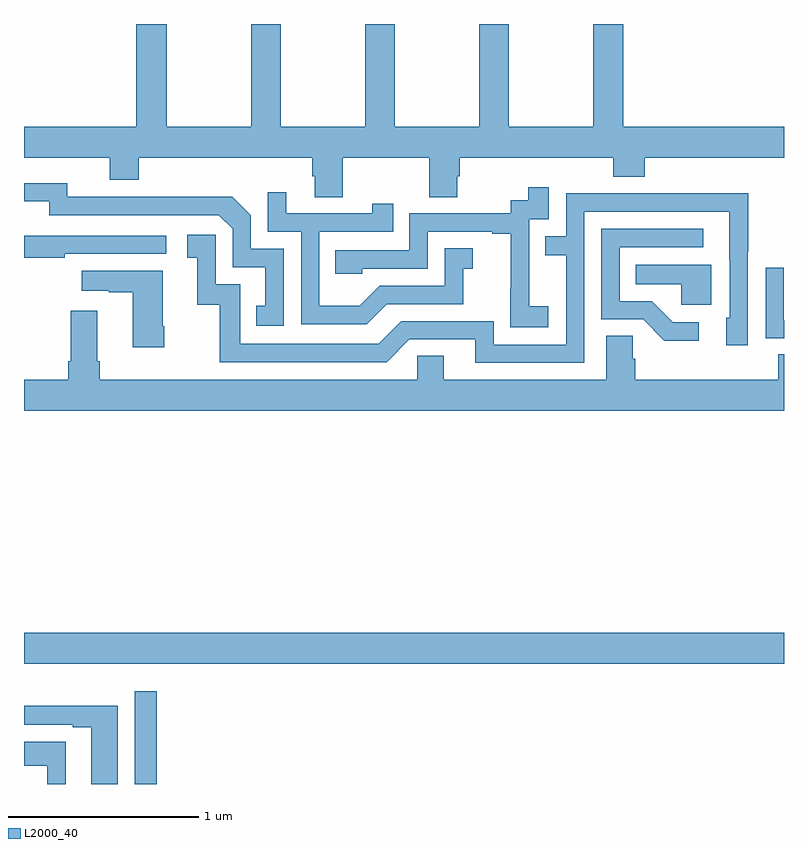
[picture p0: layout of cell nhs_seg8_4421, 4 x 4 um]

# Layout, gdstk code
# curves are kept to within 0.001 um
import gdstk
lib = gdstk.Library(unit=1e-6, precision=1e-09)
def R(c, l, rs):  # rectangles x0, y0, x1, y1
    for r in rs: c.add(gdstk.rectangle(r[:2], r[2:], *l))
def P(c, l, *ps):  # polygons
    for p in ps: c.add(gdstk.Polygon(p, *l))
L2000_40 = (2000, 40)

nhs_seg8_4421 = lib.new_cell('nhs_seg8_4421')
R(nhs_seg8_4421, L2000_40, [(381.582,1083.9,381.698,1084.387), (381,1084.532,385,1084.696)])
P(nhs_seg8_4421, L2000_40, [(382.677,1087.196),(383.134,1087.196),(383.134,1086.988),(383.281,1086.988),(383.281,1087.098),(383.294,1087.098),(383.294,1087.196),(384.101,1087.196),(384.101,1087.097),(384.266,1087.097),(384.266,1087.196),(385,1087.196),(385,1087.36),(384.155,1087.36),(384.155,1087.9),(383.995,1087.9),(383.995,1087.36),(383.55,1087.36),(383.55,1087.9),(383.395,1087.9),(383.395,1087.36),(382.95,1087.36),(382.95,1087.9),(382.795,1087.9),(382.795,1087.36),(382.35,1087.36),(382.35,1087.9),(382.195,1087.9),(382.195,1087.36),(381.75,1087.36),(381.75,1087.9),(381.59,1087.9),(381.59,1087.36),(381,1087.36),(381,1087.196),(381.452,1087.196),(381.452,1087.079),(381.605,1087.079),(381.605,1087.196),(382.517,1087.196),(382.517,1087.098),(382.529,1087.098),(382.529,1086.988),(382.677,1086.988)],
  [(382.368,1086.717),(382.194,1086.717),(382.194,1086.894),(382.096,1086.992),(381.688,1086.992),(381.688,1086.99),(381.228,1086.99),(381.228,1087.063),(381,1087.063),(381,1086.966),(381.132,1086.966),(381.132,1086.894),(382.026,1086.894),(382.098,1086.822),(382.098,1086.621),(382.271,1086.621),(382.271,1086.417),(382.222,1086.417),(382.222,1086.312),(382.368,1086.312)],
  [(383.758,1086.415),(383.66,1086.415),(383.66,1086.644),(383.658,1086.644),(383.658,1086.873),(383.763,1086.873),(383.763,1087.042),(383.655,1087.042),(383.655,1086.972),(383.562,1086.972),(383.562,1086.903),(383.028,1086.903),(383.028,1086.708),(382.639,1086.708),(382.639,1086.585),(382.779,1086.585),(382.779,1086.612),(383.124,1086.612),(383.124,1086.807),(383.465,1086.807),(383.465,1086.795),(383.561,1086.795),(383.561,1086.511),(383.56,1086.511),(383.56,1086.305),(383.758,1086.305)],
  [(382.909,1086.426),(383.313,1086.426),(383.313,1086.611),(383.362,1086.611),(383.362,1086.721),(383.214,1086.721),(383.214,1086.522),(382.872,1086.522),(382.768,1086.418),(382.554,1086.418),(382.554,1086.807),(382.943,1086.807),(382.943,1086.955),(382.832,1086.955),(382.832,1086.903),(382.381,1086.903),(382.381,1087.015),(382.284,1087.015),(382.284,1086.807),(382.458,1086.807),(382.458,1086.321),(382.804,1086.321)],
  [(383.949,1086.912),(384.713,1086.912),(384.714,1086.354),(384.695,1086.354),(384.695,1086.21),(384.81,1086.21),(384.81,1086.703),(384.813,1086.703),(384.813,1087.01),(384.349,1087.01),(384.349,1087.008),(383.853,1087.008),(383.853,1086.783),(383.743,1086.783),(383.743,1086.682),(383.853,1086.682),(383.853,1086.213),(383.472,1086.213),(383.472,1086.336),(382.986,1086.336),(382.866,1086.216),(382.137,1086.216),(382.137,1086.531),(382.008,1086.531),(382.008,1086.79),(381.858,1086.79),(381.858,1086.669),(381.911,1086.669),(381.911,1086.423),(382.029,1086.423),(382.029,1086.12),(382.908,1086.12),(383.028,1086.24),(383.375,1086.24),(383.375,1086.117),(383.949,1086.117)],
  [(384.55,1086.33),(384.415,1086.33),(384.304,1086.441),(384.135,1086.441),(384.135,1086.726),(384.574,1086.726),(384.574,1086.822),(384.039,1086.822),(384.039,1086.345),(384.258,1086.345),(384.371,1086.233),(384.55,1086.233)],
  [(381.215,1086.69),(381.748,1086.69),(381.748,1086.786),(381,1086.786),(381,1086.67),(381.215,1086.67)],
  [(384.616,1086.634),(384.22,1086.634),(384.22,1086.53),(384.459,1086.53),(384.459,1086.422),(384.616,1086.422)],
  [(385,1086.342),(384.999,1086.342),(384.999,1086.616),(384.903,1086.616),(384.903,1086.246),(385,1086.246)],
  [(381.738,1086.31),(381.73,1086.31),(381.73,1086.601),(381.303,1086.601),(381.303,1086.497),(381.446,1086.497),(381.446,1086.487),(381.572,1086.487),(381.572,1086.198),(381.738,1086.198)],
  [(385,1086.161),(384.971,1086.161),(384.971,1086.028),(384.218,1086.028),(384.218,1086.137),(384.204,1086.137),(384.204,1086.26),(384.065,1086.26),(384.065,1086.028),(383.209,1086.028),(383.209,1086.155),(383.07,1086.155),(383.07,1086.028),(381.398,1086.028),(381.398,1086.124),(381.385,1086.124),(381.385,1086.391),(381.245,1086.391),(381.245,1086.124),(381.233,1086.124),(381.233,1086.028),(381,1086.028),(381,1085.864),(385,1085.864)],
  [(381.493,1084.311),(381,1084.311),(381,1084.212),(381.257,1084.212),(381.257,1084.2),(381.353,1084.2),(381.353,1083.9),(381.493,1083.9)],
  [(381.22,1084.123),(381,1084.123),(381,1083.995),(381.122,1083.995),(381.122,1083.9),(381.22,1083.9)])

lib.write_gds('nhs_seg8_4421.gds')
